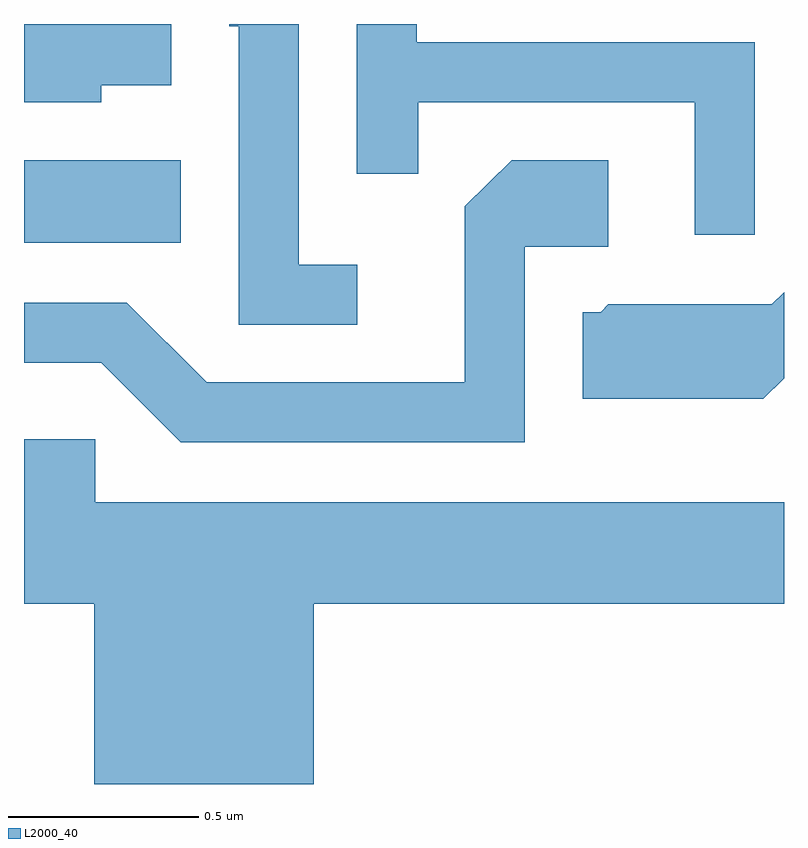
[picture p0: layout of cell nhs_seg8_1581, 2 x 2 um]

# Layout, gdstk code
import gdstk
lib = gdstk.Library(unit=1e-6, precision=1e-09)
def R(c, l, rs):  # rectangles x0, y0, x1, y1
    for r in rs: c.add(gdstk.rectangle(r[:2], r[2:], *l))
def P(c, l, *ps):  # polygons
    for p in ps: c.add(gdstk.Polygon(p, *l))
L2000_40 = (2000, 40)

nhs_seg8_1581 = lib.new_cell('nhs_seg8_1581')
R(nhs_seg8_1581, L2000_40, [(196.611,1881.766,197.024,1881.984)])
P(nhs_seg8_1581, L2000_40, [(197.488,1881.709),(197.334,1881.709),(197.334,1882.342),(197.151,1882.342),(197.151,1882.336),(197.176,1882.336),(197.176,1881.551),(197.488,1881.551)],
  [(196.814,1882.181),(196.999,1882.181),(196.999,1882.342),(196.611,1882.342),(196.611,1882.136),(196.814,1882.136)],
  [(198.534,1882.294),(197.644,1882.294),(197.644,1882.342),(197.486,1882.342),(197.486,1881.948),(197.649,1881.948),(197.649,1882.136),(198.376,1882.136),(198.376,1881.788),(198.534,1881.788)],
  [(197.929,1881.756),(198.149,1881.756),(198.149,1881.984),(197.894,1881.984),(197.771,1881.862),(197.771,1881.399),(197.092,1881.399),(196.882,1881.609),(196.611,1881.609),(196.611,1881.451),(196.814,1881.451),(197.024,1881.241),(197.929,1881.241)],
  [(198.611,1881.41),(198.611,1881.636),(198.579,1881.604),(198.149,1881.604),(198.129,1881.584),(198.081,1881.584),(198.081,1881.356),(198.557,1881.356)],
  [(197.374,1880.816),(198.611,1880.816),(198.611,1881.084),(196.799,1881.084),(196.799,1881.249),(196.611,1881.249),(196.611,1880.816),(196.796,1880.816),(196.796,1880.342),(197.374,1880.342)])

lib.write_gds('nhs_seg8_1581.gds')
